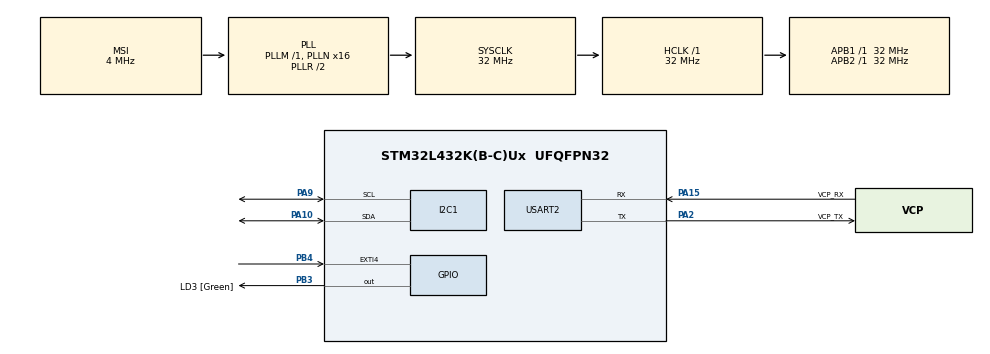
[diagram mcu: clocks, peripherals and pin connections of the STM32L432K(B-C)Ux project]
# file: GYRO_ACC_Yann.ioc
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I2C1.Speed=10
I2C1.Timing=0x6010C7FF
Mcu.Family=STM32L4
Mcu.Name=STM32L432K(B-C)Ux
Mcu.Package=UFQFPN32
NVIC.EXTI4_IRQn=true\:0\:0\:false\:false\:true\:true\:true\:true
NVIC.PriorityGroup=NVIC_PRIORITYGROUP_4
PA0.GPIO_Label=MCO [High speed clock in]
PA0.Mode=HSE-External-Clock-Source-for-LittleOrca
PA0.Signal=RCC_CK_IN
PA10.GPIO_Pu=GPIO_PULLUP
PA10.Mode=I2C
PA10.Signal=I2C1_SDA
PA13\ (JTMS-SWDIO).GPIO_Label=SWDIO
PA13\ (JTMS-SWDIO).Mode=Serial_Wire
PA13\ (JTMS-SWDIO).Signal=SYS_JTMS-SWDIO
PA14\ (JTCK-SWCLK).GPIO_Label=SWCLK
PA14\ (JTCK-SWCLK).Mode=Serial_Wire
PA14\ (JTCK-SWCLK).Signal=SYS_JTCK-SWCLK
PA15\ (JTDI).GPIO_Label=VCP_RX
PA15\ (JTDI).Mode=Asynchronous
PA15\ (JTDI).Signal=USART2_RX
PA2.GPIO_Label=VCP_TX
PA2.Mode=Asynchronous
PA2.Signal=USART2_TX
PA9.GPIO_Mode=GPIO_MODE_AF_OD
PA9.GPIO_Pu=GPIO_PULLUP
PA9.Mode=I2C
PA9.Signal=I2C1_SCL
PB3\ (JTDO-TRACESWO).GPIO_Label=LD3 [Green]
PB3\ (JTDO-TRACESWO).Signal=GPIO_Output
PB4\ (NJTRST).GPIO_PuPd=GPIO_NOPULL
PB4\ (NJTRST).Signal=GPXTI4
PC14-OSC32_IN\ (PC14).Mode=LSE-External-Oscillator
PC14-OSC32_IN\ (PC14).Signal=RCC_OSC32_IN
PC15-OSC32_OUT\ (PC15).Mode=LSE-External-Oscillator
PC15-OSC32_OUT\ (PC15).Signal=RCC_OSC32_OUT
ProjectManager.HeapSize=0x200
ProjectManager.StackSize=0x400
ProjectManager.TargetToolchain=STM32CubeIDE
RCC.AHBFreq_Value=32000000
RCC.APB1Freq_Value=32000000
RCC.APB1TimFreq_Value=32000000
RCC.APB2Freq_Value=32000000
RCC.APB2TimFreq_Value=32000000
RCC.CortexFreq_Value=32000000
RCC.HCLKFreq_Value=32000000
RCC.HSE_VALUE=8000000
RCC.HSI16_VALUE=16000000
RCC.HSI48_VALUE=48000000
RCC.HSI_VALUE=16000000
RCC.MSI_VALUE=4000000
RCC.PLLMUL=RCC_PLLMUL_4
RCC.PLLN=16
RCC.SYSCLKFreq_VALUE=32000000
RCC.SYSCLKSource=RCC_SYSCLKSOURCE_PLLCLK
RCC.VCOOutputFreq_Value=64000000
USART2.VirtualMode-Asynchronous=VM_ASYNC
VP_TIM6_VS_ClockSourceINT.Mode=Enable_Timer
board=NUCLEO-L432KC

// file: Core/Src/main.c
/* USER CODE BEGIN Header */
/**
  ******************************************************************************
  * @file           : main.c
  * @brief          : Main program body
  ******************************************************************************
  * @attention
  *
  * Copyright (c) 2022 STMicroelectronics.
  * All rights reserved.
  *
  * This software is licensed under terms that can be found in the LICENSE file
  * in the root directory of this software component.
  * If no LICENSE file comes with this software, it is provided AS-IS.
  *
  ******************************************************************************
  */
/* USER CODE END Header */
#include "main.h"

/* USER CODE BEGIN Includes */
#include "stdio.h"
#include <string.h>
#include "MPU6050.h"
#include "Gyro.h"
#include "Accelero.h"
/* USER CODE END Includes */

/* USER CODE BEGIN PD */
#define ADDR (0x68<<1 | 0x01)
/* USER CODE END PD */

I2C_HandleTypeDef hi2c1;

TIM_HandleTypeDef htim6;

UART_HandleTypeDef huart2;

/* USER CODE BEGIN PV */
MPU6050_Interrupt_Config_t MPU6050_Int_Config = {
	MPU6050_INT_ACTIVE_HIGH,
	MPU6050_INT_PUSH_PULL,
	MPU6050_INT_LATCH_50US_PULSE,
	MPU6050_INT_CLEAR_ON_ANY_READ,
	MPU6050_FSYNC_ACTIVE_HIGH,
	MPU6050_FSYNC_INT_DISABLE,
	MPU6050_FIFO_OVF_DISABLE,
	MPU6050_MST_INT_DISABLE,
	MPU6050_DRDY_ENABLE
};

MPU6050_Config_t MPU6050_Config = {
	MPU6050_DIVIDER_100Hz,
	MPU6050_DLPF_42Hz,
	MPU6050_EXT_SYNC_DISABLED,
	MPU6050_GYRO_SENSITIVITY_250,
	MPU6050_ACCELERO_SENSITIVITY_2,
	MPU6050_Z_FIFO_DISABLE,
	MPU6050_CLOCK_INTERNAL_8MHz,
	&MPU6050_Int_Config
};

MPU6050_Descriptor_t MPU6050_Descriptor = {
		&hi2c1,
		0x68,
		//MPU6050_INT_GPIO_Port,
		//MPU6050_INT_Pin,
		&MPU6050_Config
};

Gyro_Config_t Gyro_Config = {
		GYRO_NO_MODULO,
		1024,
		GYRO_CALIBRATION_AT_STARTUP,
};

Gyro_Desciptor_t Gyro_Descriptor = { &Gyro_Config };

Accelero_Config_t Accelero_Config = {
		0,
		ACCEL_SKIP_CALIBRATION,
};

Accelero_Desciptor_t Accelero_Descriptor = { &Accelero_Config };

uint8_t txbuffer[64];
uint16_t txlen;

//int32_t - tps d'échantillonage
float GZ_Data;
float Acc_Data_X;
float Acc_Data_Y;
uint32_t t;
/* USER CODE END PV */

void SystemClock_Config(void);
static void MX_GPIO_Init(void);
static void MX_USART2_UART_Init(void);
static void MX_I2C1_Init(void);
static void MX_TIM6_Init(void);

/* USER CODE BEGIN 0 */
int _write(int file, char *ptr, int len)
{
	/* Implement your write code here, this is used by puts and printf for example */
	int i=0;
	for(i=0 ; i<len ; i++)
		ITM_SendChar((*ptr++));
	return len;
}
/* USER CODE END 0 */

int main(void)
{

  /* MCU Configuration--------------------------------------------------------*/

  /* Reset of all peripherals, Initializes the Flash interface and the Systick. */
  HAL_Init();

  /* Configure the system clock */
  SystemClock_Config();

  /* Initialize all configured peripherals */
  MX_GPIO_Init();
  MX_USART2_UART_Init();
  MX_I2C1_Init();
  MX_TIM6_Init();
  /* USER CODE BEGIN 2 */
  //HAL_TIM_PWM_Start(&htim6, TIM_CHANNEL_1);

  MPU6050_Init(&MPU6050_Descriptor);
  Gyro_Init(&Gyro_Descriptor);
  Accelero_Init(&Accelero_Descriptor);

  t=HAL_GetTick();
  /* USER CODE END 2 */

  /* Infinite loop */
  while (1)
  {

    /* USER CODE BEGIN 3 */
	  MPU6050_Process();
	  Gyro_Process();
	  Accelero_Process();
	  if(HAL_GetTick()>t+100)
	  {
		  t = HAL_GetTick();

		  if(Gyro_isReady()){
			  GZ_Data = 2 * Gyro_GetRot();

		  }
		  else{
			  GZ_Data = Gyro_GetCalibrationAdvancement();
		  }

		  if(Accelero_isReady()){
			  Acc_Data_X = Accelero_GetAccX() - 0.11;
			  Acc_Data_Y = Accelero_GetAccY() + 0.02 ;
		  }
		  else{
		  	  Acc_Data_X = Accelero_GetCalibrationAdvancement();
		  	  Acc_Data_Y = Accelero_GetCalibrationAdvancement();
		  }

		txlen = sprintf((char*)txbuffer, "RotZ: %0.02f AccX: %0.03f AccY: %0.03f\n\r", GZ_Data, Acc_Data_X, Acc_Data_Y);
//		txlen = sprintf((char*)txbuffer, "%0.02f %0.03f %0.03f \n\r", GZ_Data, Acc_Data_X, Acc_Data_Y);
		HAL_UART_Transmit(&huart2, txbuffer, txlen, HAL_MAX_DELAY);

	  }
  }
  /* USER CODE END 3 */
}

void SystemClock_Config(void)
{
  RCC_OscInitTypeDef RCC_OscInitStruct = {0};
  RCC_ClkInitTypeDef RCC_ClkInitStruct = {0};

  /** Configure the main internal regulator output voltage
  */
  if (HAL_PWREx_ControlVoltageScaling(PWR_REGULATOR_VOLTAGE_SCALE1) != HAL_OK)
  {
    Error_Handler();
  }

  /** Configure LSE Drive Capability
  */
  HAL_PWR_EnableBkUpAccess();
  __HAL_RCC_LSEDRIVE_CONFIG(RCC_LSEDRIVE_LOW);

  /** Initializes the RCC Oscillators according to the specified parameters
  * in the RCC_OscInitTypeDef structure.
  */
  RCC_OscInitStruct.OscillatorType = RCC_OSCILLATORTYPE_LSE|RCC_OSCILLATORTYPE_MSI;
  RCC_OscInitStruct.LSEState = RCC_LSE_ON;
  RCC_OscInitStruct.MSIState = RCC_MSI_ON;
  RCC_OscInitStruct.MSICalibrationValue = 0;
  RCC_OscInitStruct.MSIClockRange = RCC_MSIRANGE_6;
  RCC_OscInitStruct.PLL.PLLState = RCC_PLL_ON;
  RCC_OscInitStruct.PLL.PLLSource = RCC_PLLSOURCE_MSI;
  RCC_OscInitStruct.PLL.PLLM = 1;
  RCC_OscInitStruct.PLL.PLLN = 16;
  RCC_OscInitStruct.PLL.PLLP = RCC_PLLP_DIV7;
  RCC_OscInitStruct.PLL.PLLQ = RCC_PLLQ_DIV2;
  RCC_OscInitStruct.PLL.PLLR = RCC_PLLR_DIV2;
  if (HAL_RCC_OscConfig(&RCC_OscInitStruct) != HAL_OK)
  {
    Error_Handler();
  }

  /** Initializes the CPU, AHB and APB buses clocks
  */
  RCC_ClkInitStruct.ClockType = RCC_CLOCKTYPE_HCLK|RCC_CLOCKTYPE_SYSCLK
                              |RCC_CLOCKTYPE_PCLK1|RCC_CLOCKTYPE_PCLK2;
  RCC_ClkInitStruct.SYSCLKSource = RCC_SYSCLKSOURCE_PLLCLK;
  RCC_ClkInitStruct.AHBCLKDivider = RCC_SYSCLK_DIV1;
  RCC_ClkInitStruct.APB1CLKDivider = RCC_HCLK_DIV1;
  RCC_ClkInitStruct.APB2CLKDivider = RCC_HCLK_DIV1;

  if (HAL_RCC_ClockConfig(&RCC_ClkInitStruct, FLASH_LATENCY_1) != HAL_OK)
  {
    Error_Handler();
  }

  /** Enable MSI Auto calibration
  */
  HAL_RCCEx_EnableMSIPLLMode();
}

static void MX_I2C1_Init(void)
{

  hi2c1.Instance = I2C1;
  hi2c1.Init.Timing = 0x6010C7FF;
  hi2c1.Init.OwnAddress1 = 0;
  hi2c1.Init.AddressingMode = I2C_ADDRESSINGMODE_7BIT;
  hi2c1.Init.DualAddressMode = I2C_DUALADDRESS_DISABLE;
  hi2c1.Init.OwnAddress2 = 0;
  hi2c1.Init.OwnAddress2Masks = I2C_OA2_NOMASK;
  hi2c1.Init.GeneralCallMode = I2C_GENERALCALL_DISABLE;
  hi2c1.Init.NoStretchMode = I2C_NOSTRETCH_DISABLE;
  if (HAL_I2C_Init(&hi2c1) != HAL_OK)
  {
    Error_Handler();
  }

  /** Configure Analogue filter
  */
  if (HAL_I2CEx_ConfigAnalogFilter(&hi2c1, I2C_ANALOGFILTER_ENABLE) != HAL_OK)
  {
    Error_Handler();
  }

  /** Configure Digital filter
  */
  if (HAL_I2CEx_ConfigDigitalFilter(&hi2c1, 0) != HAL_OK)
  {
    Error_Handler();
  }

}

static void MX_TIM6_Init(void)
{

  TIM_MasterConfigTypeDef sMasterConfig = {0};

  htim6.Instance = TIM6;
  htim6.Init.Prescaler = 0;
  htim6.Init.CounterMode = TIM_COUNTERMODE_UP;
  htim6.Init.Period = 65535;
  htim6.Init.AutoReloadPreload = TIM_AUTORELOAD_PRELOAD_DISABLE;
  if (HAL_TIM_Base_Init(&htim6) != HAL_OK)
  {
    Error_Handler();
  }
  sMasterConfig.MasterOutputTrigger = TIM_TRGO_RESET;
  sMasterConfig.MasterSlaveMode = TIM_MASTERSLAVEMODE_DISABLE;
  if (HAL_TIMEx_MasterConfigSynchronization(&htim6, &sMasterConfig) != HAL_OK)
  {
    Error_Handler();
  }

}

static void MX_USART2_UART_Init(void)
{

  huart2.Instance = USART2;
  huart2.Init.BaudRate = 115200;
  huart2.Init.WordLength = UART_WORDLENGTH_8B;
  huart2.Init.StopBits = UART_STOPBITS_1;
  huart2.Init.Parity = UART_PARITY_NONE;
  huart2.Init.Mode = UART_MODE_TX_RX;
  huart2.Init.HwFlowCtl = UART_HWCONTROL_NONE;
  huart2.Init.OverSampling = UART_OVERSAMPLING_16;
  huart2.Init.OneBitSampling = UART_ONE_BIT_SAMPLE_DISABLE;
  huart2.AdvancedInit.AdvFeatureInit = UART_ADVFEATURE_NO_INIT;
  if (HAL_UART_Init(&huart2) != HAL_OK)
  {
    Error_Handler();
  }

}

static void MX_GPIO_Init(void)
{
  GPIO_InitTypeDef GPIO_InitStruct = {0};

  /* GPIO Ports Clock Enable */
  __HAL_RCC_GPIOC_CLK_ENABLE();
  __HAL_RCC_GPIOA_CLK_ENABLE();
  __HAL_RCC_GPIOB_CLK_ENABLE();

  /*Configure GPIO pin Output Level */
  HAL_GPIO_WritePin(LD3_GPIO_Port, LD3_Pin, GPIO_PIN_RESET);

  /*Configure GPIO pin : LD3_Pin */
  GPIO_InitStruct.Pin = LD3_Pin;
  GPIO_InitStruct.Mode = GPIO_MODE_OUTPUT_PP;
  GPIO_InitStruct.Pull = GPIO_NOPULL;
  GPIO_InitStruct.Speed = GPIO_SPEED_FREQ_LOW;
  HAL_GPIO_Init(LD3_GPIO_Port, &GPIO_InitStruct);

  /*Configure GPIO pin : PB4 */
  GPIO_InitStruct.Pin = GPIO_PIN_4;
  GPIO_InitStruct.Mode = GPIO_MODE_IT_RISING;
  GPIO_InitStruct.Pull = GPIO_NOPULL;
  HAL_GPIO_Init(GPIOB, &GPIO_InitStruct);

  /* EXTI interrupt init*/
  HAL_NVIC_SetPriority(EXTI4_IRQn, 0, 0);
  HAL_NVIC_EnableIRQ(EXTI4_IRQn);

}

void Error_Handler(void)
{
  __disable_irq();
  while (1)
  {
  }
}
